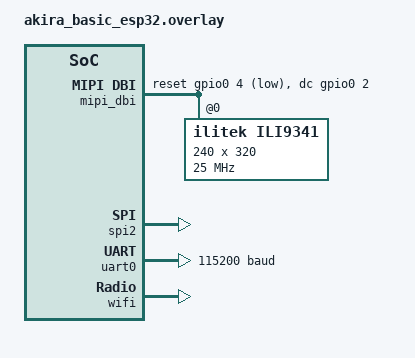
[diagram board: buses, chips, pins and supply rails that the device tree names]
// SPDX-License-Identifier: Apache-2.0

/dts-v1/;

/ {
    chosen {
        zephyr,display = &ili9341;
    };

    aliases {
        led0 = &status_led;
        led1 = &charge_led;
        sw0 = &key_up;
        sw1 = &key_right;
        sw2 = &key_down;
        sw3 = &key_left;
        sw4 = &key_a;
        sw5 = &key_b;
        sw6 = &key_x;
        sw7 = &key_y;
        sw8 = &key_settings;
    };

    mipi_dbi {
        compatible = "zephyr,mipi-dbi-spi";
        spi-dev = <&spi2>;
        dc-gpios = <&gpio0 2 GPIO_ACTIVE_HIGH>;
        reset-gpios = <&gpio0 4 GPIO_ACTIVE_LOW>;
        #address-cells = <1>;
        #size-cells = <0>;

        ili9341: ili9341@0 {
            compatible = "ilitek,ili9341";
            reg = <0>;
            spi-max-frequency = <25000000>;
            width = <240>;
            height = <320>;
            rotation = <0>;
        };
    };
};

&spi2 {
    status = "okay";
    pinctrl-0 = <&spim2_default>;
    pinctrl-names = "default";

    cs-gpios = <&gpio0 5 GPIO_ACTIVE_LOW>,   /* Display CS */
               <&gpio0 17 GPIO_ACTIVE_LOW>,  /* Touch CS */
               <&gpio0 15 GPIO_ACTIVE_LOW>;  /* SD Card CS */
};

&uart0 {
    status = "okay";
    current-speed = <115200>;
    pinctrl-0 = <&uart0_default>;
    pinctrl-names = "default";
};

&wifi {
    status = "okay";
};
